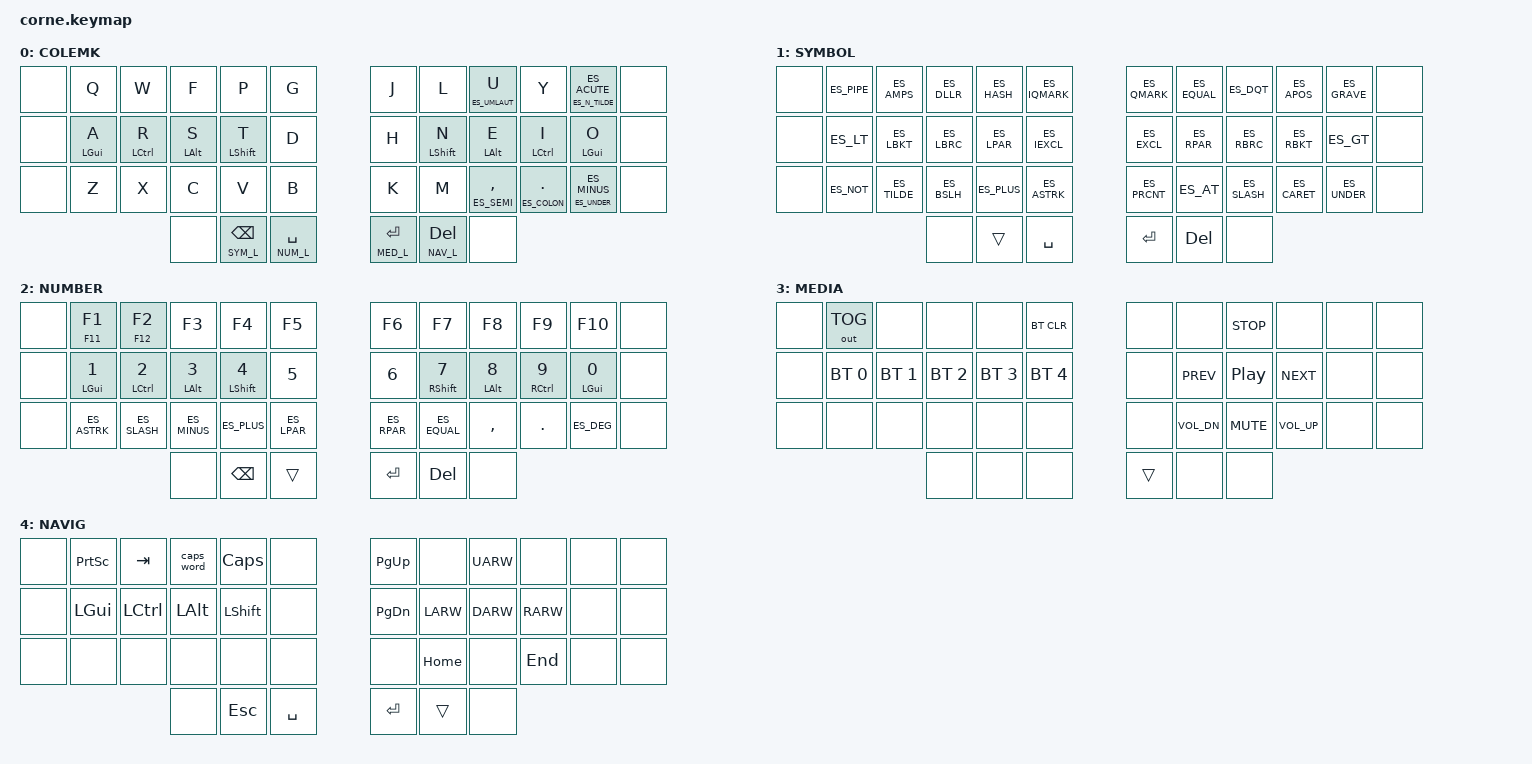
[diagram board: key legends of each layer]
/*
 * Copyright (c) 2020 The ZMK Contributors
 *
 * SPDX-License-Identifier: MIT
 */

#include <behaviors.dtsi>
#include <dt-bindings/zmk/keys.h>
#include <dt-bindings/zmk/bt.h>
#include <dt-bindings/zmk/outputs.h>
#include "keys_es_latam.h"

#define SYM_L 1
#define NUM_L 2
#define MED_L 3
#define NAV_L 4

// Using layer taps on thumbs, having quick tap as well helps w/ repeating space/backspace
&lt { quick_tap_ms = <200>; };

/ {

    combos {
        compatible = "zmk,combos";

        combo_tab {
	        timeout-ms = <50>;
            key-positions = <2 3>;
            bindings = <&kp TAB>;
            layers = <0>;
        };

        combo_caps_word {
	        timeout-ms = <50>;
            key-positions = <8 9>;
            bindings = <&caps_word>;
            layers = <0>;
        };
    };

    behaviors {
        hm: homerow_mods {
            compatible = "zmk,behavior-hold-tap";
            label = "homerow mods";
            #binding-cells = <2>;
            tapping_term_ms = <200>;
            quick_tap_ms = <200>;
            flavor = "tap-preferred";
            bindings = <&kp>, <&kp>;
        };
    };

    keymap {
        compatible = "zmk,keymap";

        default_layer {
            display-name = "COLEMK";
            bindings = <
                &none  &kp Q       &kp W        &kp F       &kp P        &kp G        &kp J    &kp L        &hm ES_UMLAUT U    &kp Y             &hm ES_N_TILDE ES_ACUTE  &none
                &none  &hm LGUI A  &hm LCTRL R  &hm LALT S  &hm LSHFT T  &kp D        &kp H    &hm LSHFT N  &hm LALT E         &hm LCTRL I       &hm LGUI O               &none
                &none  &kp Z       &kp X        &kp C       &kp V        &kp B        &kp K    &kp M        &hm ES_SEMI COMMA  &hm ES_COLON DOT  &hm ES_UNDER ES_MINUS    &none
                                        &none  &lt SYM_L BKSP  &lt NUM_L SPACE        &lt MED_L RET  &lt NAV_L DEL  &none
            >;
        };

        sym_layer {
            display-name = "SYMBOL";
            bindings = <
                &none  &kp ES_PIPE  &kp ES_AMPS   &kp ES_DLLR  &kp ES_HASH  &kp ES_IQMARK        &kp ES_QMARK  &kp ES_EQUAL  &kp ES_DQT    &kp ES_APOS   &kp ES_GRAVE  &none
                &none  &kp ES_LT    &kp ES_LBKT   &kp ES_LBRC  &kp ES_LPAR  &kp ES_IEXCL         &kp ES_EXCL   &kp ES_RPAR   &kp ES_RBRC   &kp ES_RBKT   &kp ES_GT     &none
                &none  &kp ES_NOT   &kp ES_TILDE  &kp ES_BSLH  &kp ES_PLUS  &kp ES_ASTRK         &kp ES_PRCNT  &kp ES_AT     &kp ES_SLASH  &kp ES_CARET  &kp ES_UNDER  &none
                                                                 &none  &trans  &kp SPACE        &kp RET  &kp DEL  &none
            >;
        };

        num_layer {
            display-name = "NUMBER";
            bindings = <
                &none  &hm F11 F1    &hm F12 F2    &kp F3        &kp F4        &kp F5             &kp F6       &kp F7        &kp F8      &kp F9       &kp F10      &none
                &none  &hm LGUI N1   &hm LCTRL N2  &hm LALT N3   &hm LSHFT N4  &kp N5             &kp N6       &hm RSHFT N7  &hm LALT N8 &hm RCTRL N9 &hm LGUI N0  &none
                &none  &kp ES_ASTRK  &kp ES_SLASH  &kp ES_MINUS  &kp ES_PLUS   &kp ES_LPAR        &kp ES_RPAR  &kp ES_EQUAL  &kp COMMA   &kp DOT      &kp ES_DEG   &none
                                                                   &none  &kp BKSP  &trans        &kp RET  &kp DEL  &none
            >;
        };

        media_layer {
            display-name = "MEDIA";
            bindings = <
                &none  &out OUT_TOG  &none         &none         &none         &bt BT_CLR          &none  &none         &kp C_STOP        &none         &none  &none
                &none  &bt BT_SEL 0  &bt BT_SEL 1  &bt BT_SEL 2  &bt BT_SEL 3  &bt BT_SEL 4        &none  &kp C_PREV    &kp C_PLAY_PAUSE  &kp C_NEXT    &none  &none
                &none  &none         &none         &none         &none         &none               &none  &kp C_VOL_DN  &kp C_MUTE        &kp C_VOL_UP  &none  &none
                                                                        &none  &none  &none        &trans  &none  &none
            >;
        };

        nav_layer {
            display-name = "NAVIG";
            bindings = <
                &none  &kp PSCRN  &kp TAB    &caps_word  &kp CAPS    &none            &kp PG_UP  &none     &kp UARW   &none     &none  &none
                &none  &kp LGUI   &kp LCTRL  &kp LALT    &kp LSHFT   &none            &kp PG_DN  &kp LARW  &kp DARW   &kp RARW  &none  &none
                &none  &none      &none      &none       &none       &none            &none      &kp HOME  &none      &kp END   &none  &none
                                                     &none  &kp ESC  &kp SPACE        &kp RET  &trans  &none
            >;
        };
    };
};
